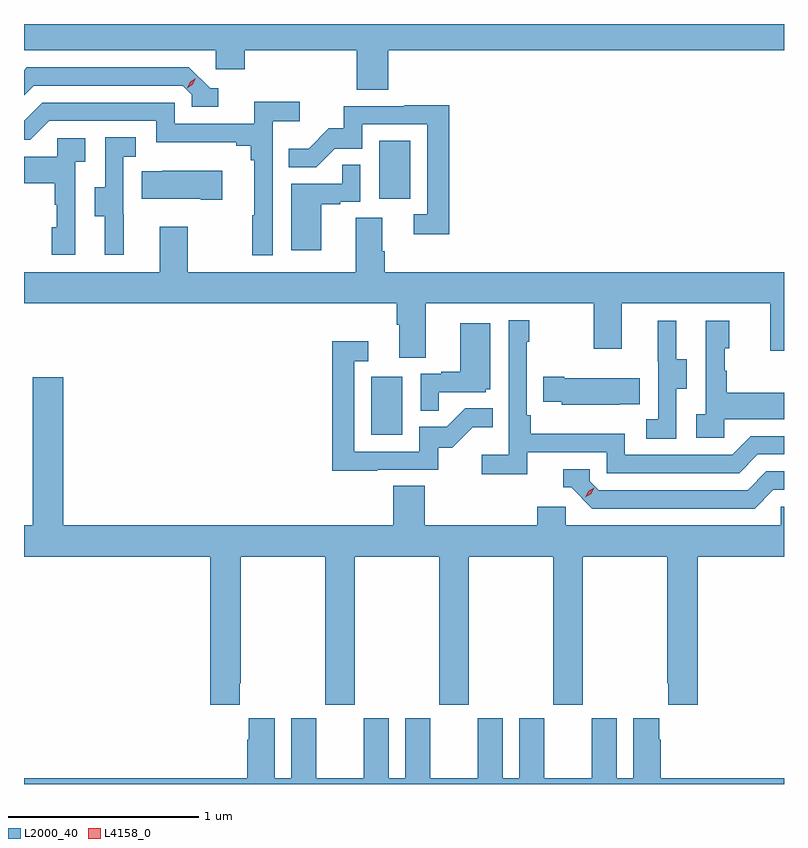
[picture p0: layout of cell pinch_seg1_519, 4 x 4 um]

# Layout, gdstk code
import gdstk
lib = gdstk.Library(unit=1e-6, precision=1e-09)
def R(c, l, rs):  # rectangles x0, y0, x1, y1
    for r in rs: c.add(gdstk.rectangle(r[:2], r[2:], *l))
def P(c, l, *ps):  # polygons
    for p in ps: c.add(gdstk.Polygon(p, *l))
L2000_40 = (2000, 40)
L4158_0 = (4158, 0)

pinch_seg1_519 = lib.new_cell('pinch_seg1_519')
R(pinch_seg1_519, L2000_40, [(1061.756,539.052,1061.92,539.359), (1061.798,540.294,1061.962,540.601)])
P(pinch_seg1_519, L2000_40, [(1061.846,541.076),(1063.929,541.076),(1063.929,541.215),(1059.929,541.215),(1059.929,541.076),(1060.938,541.076),(1060.938,540.978),(1061.09,540.978),(1061.09,541.076),(1061.681,541.076),(1061.681,540.868),(1061.846,540.868)],
  [(1060.951,540.876),(1060.908,540.876),(1060.797,540.987),(1059.944,540.987),(1059.929,540.972),(1059.929,540.839),(1059.981,540.891),(1060.764,540.891),(1060.812,540.843),(1060.812,540.78),(1060.951,540.78)],
  [(1061.238,540.704),(1061.38,540.704),(1061.38,540.806),(1061.141,540.806),(1061.141,540.69),(1060.722,540.69),(1060.722,540.801),(1060.025,540.801),(1059.929,540.705),(1059.929,540.606),(1059.963,540.606),(1060.062,540.705),(1060.626,540.705),(1060.626,540.593),(1061.045,540.593),(1061.045,540.574),(1061.122,540.574),(1061.122,540.497),(1061.141,540.497),(1061.141,540.209),(1061.13,540.209),(1061.13,539.997),(1061.238,539.997)],
  [(1062.167,540.788),(1061.929,540.788),(1061.929,540.783),(1061.611,540.783),(1061.611,540.666),(1061.534,540.666),(1061.427,540.559),(1061.323,540.559),(1061.323,540.46),(1061.467,540.46),(1061.565,540.558),(1061.709,540.558),(1061.709,540.687),(1062.051,540.687),(1062.051,540.213),(1061.979,540.213),(1061.979,540.108),(1062.167,540.108)],
  [(1060.454,540.213),(1060.452,540.213),(1060.452,540.517),(1060.516,540.517),(1060.516,540.62),(1060.356,540.62),(1060.356,540.357),(1060.301,540.357),(1060.301,540.202),(1060.355,540.202),(1060.355,540),(1060.454,540)],
  [(1060.2,540.491),(1060.252,540.491),(1060.252,540.615),(1060.104,540.615),(1060.104,540.517),(1059.929,540.517),(1059.929,540.377),(1060.092,540.377),(1060.092,540.263),(1060.102,540.263),(1060.102,540.144),(1060.076,540.144),(1060.076,540),(1060.2,540)],
  [(1061.494,540.267),(1061.594,540.267),(1061.594,540.279),(1061.7,540.279),(1061.7,540.473),(1061.605,540.473),(1061.605,540.375),(1061.336,540.375),(1061.336,540.024),(1061.494,540.024)],
  [(1060.972,540.442),(1060.657,540.442),(1060.657,540.439),(1060.549,540.439),(1060.549,540.296),(1060.859,540.296),(1060.859,540.289),(1060.972,540.289)],
  [(1062.043,539.744),(1062.928,539.744),(1062.928,539.505),(1063.075,539.505),(1063.075,539.744),(1063.856,539.744),(1063.856,539.496),(1063.929,539.496),(1063.929,539.908),(1061.828,539.908),(1061.828,540.02),(1061.815,540.02),(1061.815,540.194),(1061.675,540.194),(1061.675,539.908),(1060.791,539.908),(1060.791,540.148),(1060.643,540.148),(1060.643,539.908),(1059.929,539.908),(1059.929,539.744),(1061.891,539.744),(1061.891,539.632),(1061.903,539.632),(1061.903,539.458),(1062.043,539.458)],
  [(1062.578,538.962),(1062.996,538.962),(1062.996,538.851),(1063.693,538.851),(1063.792,538.95),(1063.929,538.95),(1063.929,539.046),(1063.755,539.046),(1063.656,538.947),(1063.092,538.947),(1063.092,539.059),(1062.596,539.059),(1062.596,539.155),(1062.576,539.155),(1062.576,539.543),(1062.589,539.543),(1062.589,539.656),(1062.48,539.656),(1062.48,538.948),(1062.339,538.948),(1062.339,538.846),(1062.578,538.846)],
  [(1063.614,539.135),(1063.929,539.135),(1063.929,539.275),(1063.627,539.275),(1063.627,539.39),(1063.617,539.39),(1063.617,539.508),(1063.642,539.508),(1063.642,539.653),(1063.518,539.653),(1063.518,539.162),(1063.467,539.162),(1063.467,539.037),(1063.614,539.037)],
  [(1063.362,539.296),(1063.417,539.296),(1063.417,539.451),(1063.363,539.451),(1063.363,539.653),(1063.265,539.653),(1063.265,539.439),(1063.266,539.439),(1063.266,539.135),(1063.203,539.135),(1063.203,539.032),(1063.362,539.032)],
  [(1062.113,539.277),(1062.36,539.277),(1062.36,539.292),(1062.382,539.292),(1062.382,539.641),(1062.224,539.641),(1062.224,539.386),(1062.125,539.386),(1062.125,539.373),(1062.018,539.373),(1062.018,539.179),(1062.113,539.179)],
  [(1061.789,538.869),(1062.108,538.869),(1062.108,538.986),(1062.184,538.986),(1062.291,539.093),(1062.395,539.093),(1062.395,539.192),(1062.251,539.192),(1062.153,539.094),(1062.009,539.094),(1062.009,538.965),(1061.667,538.965),(1061.667,539.439),(1061.74,539.439),(1061.74,539.545),(1061.551,539.545),(1061.551,538.864),(1061.789,538.864)],
  [(1063.061,539.213),(1063.169,539.213),(1063.169,539.35),(1062.772,539.35),(1062.772,539.358),(1062.661,539.358),(1062.661,539.228),(1062.759,539.228),(1062.759,539.21),(1063.061,539.21)],
  [(1061.065,537.745),(1061.07,537.745),(1061.07,538.412),(1061.515,538.412),(1061.515,537.633),(1061.67,537.633),(1061.67,538.412),(1062.115,538.412),(1062.115,537.633),(1062.27,537.633),(1062.27,538.412),(1062.715,538.412),(1062.715,537.633),(1062.87,537.633),(1062.87,538.412),(1063.315,538.412),(1063.315,537.745),(1063.319,537.745),(1063.319,537.633),(1063.475,537.633),(1063.475,538.412),(1063.929,538.412),(1063.929,538.674),(1063.911,538.674),(1063.911,538.576),(1062.78,538.576),(1062.78,538.674),(1062.629,538.674),(1062.629,538.576),(1062.038,538.576),(1062.038,538.784),(1061.873,538.784),(1061.873,538.576),(1060.136,538.576),(1060.136,539.356),(1059.976,539.356),(1059.976,538.576),(1059.929,538.576),(1059.929,538.412),(1060.91,538.412),(1060.91,537.633),(1061.065,537.633)],
  [(1063.873,538.764),(1063.929,538.764),(1063.929,538.86),(1063.836,538.86),(1063.737,538.761),(1062.954,538.761),(1062.906,538.809),(1062.906,538.872),(1062.767,538.872),(1062.767,538.776),(1062.81,538.776),(1062.921,538.665),(1063.774,538.665)],
  [(1063.929,537.244),(1063.28,537.244),(1063.28,537.449),(1063.273,537.449),(1063.273,537.562),(1063.136,537.562),(1063.136,537.244),(1063.048,537.244),(1063.048,537.562),(1062.917,537.562),(1062.917,537.244),(1062.667,537.244),(1062.667,537.562),(1062.536,537.562),(1062.536,537.244),(1062.448,537.244),(1062.448,537.562),(1062.317,537.562),(1062.317,537.244),(1062.067,537.244),(1062.067,537.562),(1061.936,537.562),(1061.936,537.244),(1061.848,537.244),(1061.848,537.562),(1061.717,537.562),(1061.717,537.244),(1061.467,537.244),(1061.467,537.562),(1061.336,537.562),(1061.336,537.244),(1061.248,537.244),(1061.248,537.562),(1061.111,537.562),(1061.111,537.449),(1061.105,537.449),(1061.105,537.244),(1059.929,537.244),(1059.929,537.215),(1063.929,537.215)])
P(pinch_seg1_519, L4158_0, [(1060.787,540.878),(1060.787,540.878),(1060.803,540.911),(1060.834,540.93),(1060.834,540.93),(1060.834,540.93),(1060.818,540.897),(1060.787,540.878)],
  [(1062.882,538.723),(1062.882,538.724),(1062.899,538.756),(1062.93,538.775),(1062.93,538.775),(1062.93,538.774),(1062.914,538.742),(1062.883,538.723)])

lib.write_gds('pinch_seg1_519.gds')
